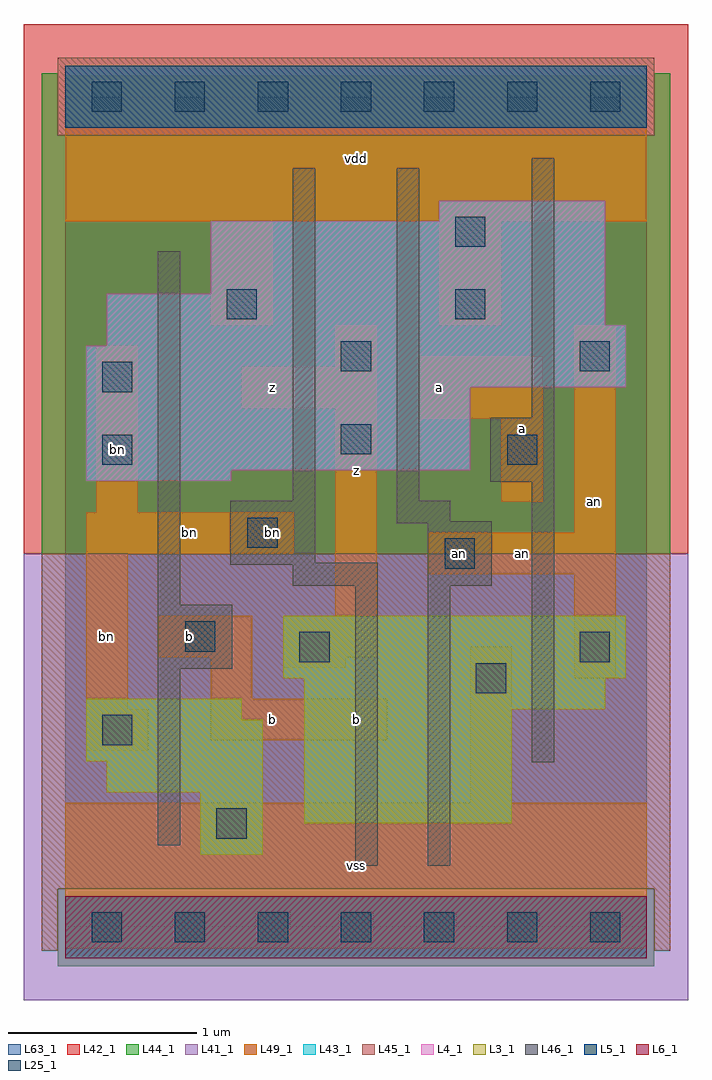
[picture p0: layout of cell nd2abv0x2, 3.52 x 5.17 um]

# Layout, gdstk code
import gdstk
lib = gdstk.Library(unit=1e-6, precision=1e-09)
def R(c, l, rs):  # rectangles x0, y0, x1, y1
    for r in rs: c.add(gdstk.rectangle(r[:2], r[2:], *l))
def A(c, l, x, y, w, h, nx, ny, dx, dy):  # array of equal rectangles
    R(c, l, [(x+i*dx, y+j*dy, x+i*dx+w, y+j*dy+h) for i in range(nx) for j in range(ny)])
L3_1 = (3, 1)
L4_1 = (4, 1)
L5_1 = (5, 1)
L6_1 = (6, 1)
L25_1 = (25, 1)
L41_1 = (41, 1)
L42_1 = (42, 1)
L43_1 = (43, 1)
L44_1 = (44, 1)
L45_1 = (45, 1)
L46_1 = (46, 1)
L49_1 = (49, 1)
L63_1 = (63, 1)

nd2abv0x2 = lib.new_cell('nd2abv0x2')
R(nd2abv0x2, L3_1, [(0.715,0.385,1.045,0.715), (1.265,0.55,2.365,1.155), (0.22,0.715,1.045,0.88), (0.11,0.88,1.045,1.1), (0.11,1.1,0.935,1.21), (1.265,1.155,2.86,1.32), (1.155,1.32,2.97,1.65)])
R(nd2abv0x2, L4_1, [(0.11,2.365,0.88,2.42), (0.11,2.42,2.145,2.86), (0.11,2.86,2.97,3.08), (0.22,3.08,2.97,3.19), (0.22,3.19,2.86,3.355), (0.77,3.355,2.86,3.74), (1.98,3.74,2.86,3.85)])
R(nd2abv0x2, L5_1, [(0,4.235,3.08,4.565)])
R(nd2abv0x2, L6_1, [(0,-0.165,3.08,0.165)])
A(nd2abv0x2, L25_1, 0.14, -0.08, 0.16, 0.16, 7, 2, 0.44, 4.4)
R(nd2abv0x2, L25_1, [(0.8,0.47,0.96,0.63), (0.195,0.965,0.355,1.125), (2.175,1.24,2.335,1.4), (1.24,1.405,1.4,1.565), (2.725,1.405,2.885,1.565), (0.635,1.46,0.795,1.62), (2.01,1.9,2.17,2.06), (0.965,2.01,1.125,2.17), (0.195,2.45,0.355,2.61), (2.34,2.45,2.5,2.61), (1.46,2.505,1.62,2.665), (0.195,2.835,0.355,2.995), (1.46,2.945,1.62,3.105), (2.725,2.945,2.885,3.105), (0.855,3.22,1.015,3.38), (2.065,3.22,2.225,3.38), (2.065,3.605,2.225,3.765)])
R(nd2abv0x2, L41_1, [(-0.22,-0.385,3.3,1.98)])
R(nd2abv0x2, L42_1, [(-0.22,1.98,3.3,4.785)])
R(nd2abv0x2, L43_1, [(0,-0.165,3.08,0.165), (0.715,0.385,1.045,0.715), (1.265,0.55,2.365,1.155), (0.22,0.715,1.045,0.88), (0.11,0.88,1.045,1.1), (0.11,1.1,0.935,1.21), (1.265,1.155,2.86,1.32), (1.155,1.32,2.97,1.65), (0.11,2.365,0.88,2.42), (0.11,2.42,2.145,2.86), (0.11,2.86,2.97,3.08), (0.22,3.08,2.97,3.19), (0.22,3.19,2.86,3.355), (0.77,3.355,2.86,3.74), (1.98,3.74,2.86,3.85), (0,4.235,3.08,4.565)])
R(nd2abv0x2, L44_1, [(-0.04,-0.205,3.12,0.205), (-0.125,1.98,3.205,4.195), (-0.125,4.195,-0.04,4.525), (3.12,4.195,3.205,4.525)])
R(nd2abv0x2, L45_1, [(-0.125,-0.125,-0.04,0.205), (3.12,-0.125,3.205,0.205), (-0.125,0.205,3.205,1.98), (-0.04,4.195,3.12,4.605)])
R(nd2abv0x2, L46_1, [(1.535,0.325,1.655,1.81), (1.92,0.325,2.04,1.81), (0.49,0.435,0.61,1.37), (2.47,0.875,2.59,2.36), (0.49,1.37,0.885,1.71), (0.49,1.71,0.61,3.58), (1.205,1.81,1.655,1.92), (1.92,1.81,2.26,2.14), (0.875,1.92,1.655,1.93), (0.875,1.93,1.325,2.26), (1.755,2.14,2.26,2.15), (1.755,2.15,2.04,2.26), (1.205,2.26,1.325,4.02), (1.755,2.26,1.875,4.02), (2.25,2.36,2.59,2.7), (2.47,2.7,2.59,4.075)])
R(nd2abv0x2, L49_1, [(0,-0.11,3.08,0.66), (2.145,0.66,2.365,1.485), (0.11,0.935,0.44,1.155), (0.77,0.99,1.705,1.21), (0.11,1.155,0.33,1.98), (0.77,1.21,0.99,1.43), (2.695,1.32,2.915,1.87), (1.155,1.375,1.485,1.43), (0.495,1.43,0.99,1.65), (1.155,1.43,1.65,1.65), (1.43,1.65,1.65,2.75), (1.925,1.87,2.915,2.09), (0.11,1.98,1.21,2.2), (2.695,2.09,2.915,3.19), (0.165,2.2,0.385,3.08), (2.31,2.255,2.53,2.695), (1.87,2.695,2.53,3.025), (0.935,2.75,1.65,2.97), (1.43,2.97,1.65,3.19), (0.77,3.19,1.1,3.74), (1.98,3.19,2.31,3.74), (0,3.74,3.08,4.51)])
R(nd2abv0x2, L63_1, [(0,0,3.08,4.4)])
nd2abv0x2.add(gdstk.Label('bn', (1.1,2.09), layer=49, texttype=1))
nd2abv0x2.add(gdstk.Label('an', (2.09,1.98), layer=49, texttype=1))
nd2abv0x2.add(gdstk.Label('bn', (0.275,2.53), layer=49, texttype=1))
nd2abv0x2.add(gdstk.Label('bn', (0.22,1.54), layer=49, texttype=1))
nd2abv0x2.add(gdstk.Label('b', (1.1,1.1), layer=49, texttype=1))
nd2abv0x2.add(gdstk.Label('b', (0.66,1.54), layer=49, texttype=1))
nd2abv0x2.add(gdstk.Label('bn', (0.66,2.09), layer=49, texttype=1))
nd2abv0x2.add(gdstk.Label('z', (1.1,2.86), layer=49, texttype=1))
nd2abv0x2.add(gdstk.Label('vss', (1.54,0.33), layer=49, texttype=1))
nd2abv0x2.add(gdstk.Label('b', (1.54,1.1), layer=49, texttype=1))
nd2abv0x2.add(gdstk.Label('z', (1.54,2.42), layer=49, texttype=1))
nd2abv0x2.add(gdstk.Label('a', (1.98,2.86), layer=49, texttype=1))
nd2abv0x2.add(gdstk.Label('vdd', (1.54,4.07), layer=49, texttype=1))
nd2abv0x2.add(gdstk.Label('an', (2.42,1.98), layer=49, texttype=1))
nd2abv0x2.add(gdstk.Label('an', (2.805,2.255), layer=49, texttype=1))
nd2abv0x2.add(gdstk.Label('a', (2.42,2.64), layer=49, texttype=1))

lib.write_gds('nd2abv0x2.gds')
